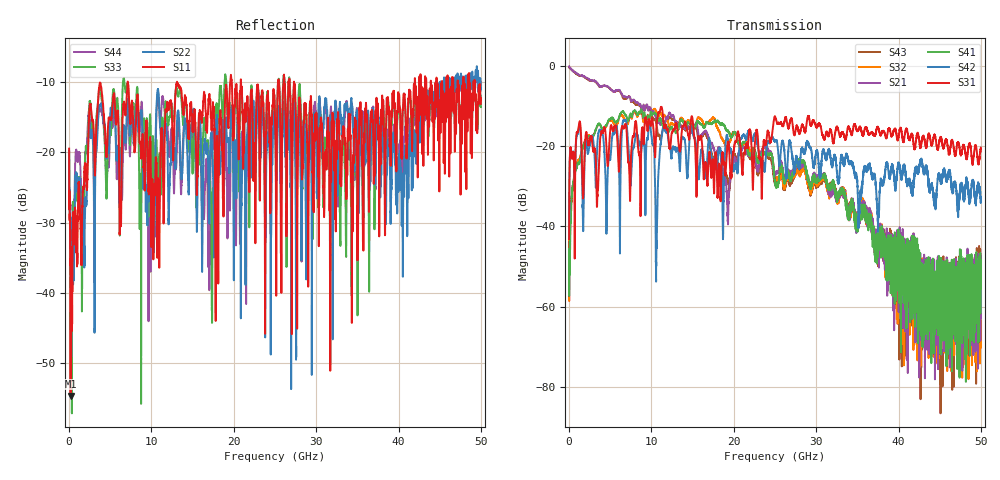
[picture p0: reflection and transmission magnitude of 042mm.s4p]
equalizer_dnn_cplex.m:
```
clear;
addpath('complexbp_v2.0')

symbolRate = 25*1e9;   % symbol rate in Bd
M = 4;            % modulation order
maxErrs = 200;    % target number of errors at each test
maxSymb = 1e7;    % maximum number of symbols at each test
nSymb = 2048;     % number of symbols per vector

% DNN parameters parameters
inputSize = 15;
refTap = 8;
numHiddenUnits = 100;
numClasses = M;
maxEpochs = 1000;
miniBatchSize = 200;

% Channel
ChannelFilename = '042mm.s4p'; %Specify channel S-parameter
imPFilename = ['impulseResponse_',ChannelFilename(1:5),'_',num2str(symbolRate/1e9),'GBd.mat'];
if ~exist(imPFilename,'file')
    ConvertSParameterToImpulseResponse;
else
    load(imPFilename);
end
chnl = chnlImP';  % channel impulse response [0.227 0.460 0.688 0.460 0.227]'
fprintf(['Impulse response of ',ChannelFilename(1:5),' Channel at ', num2str(symbolRate/1e9),'GBd is \n [',num2str(chnlImP),'].\n']);

% Equalizer
ntrain = nSymb;
arch = [inputSize,numHiddenUnits,numHiddenUnits,numClasses];
nlayer = length(arch);
eta = 1;
lambda = 5;

output_active = @sqrmax;
hidden_active = @satabsorb; %@satabsorb
cost_fun = 'quadratic';

% Initialize channel and error collection parameters
chanState = [];

%神经网络参数初始化
weight = cell(1,nlayer);
bias = cell(1,nlayer);
nabla_weight = cell(1,nlayer);
nabla_bias = cell(1,nlayer);
a = cell(1,nlayer);
z = cell(1,nlayer);

for in = 1:nlayer-1
    weight{in} = complex_weight(arch(in+1),arch(in));
    bias{in} = (rand(arch(in),1)-0.5)*2i*pi;
end
%weight{1} = complex_weight(arch(2),arch(1),'slab');
for in = 1:nlayer
    a{in} = zeros(arch(in),miniBatchSize);
    z{in} = zeros(arch(in),miniBatchSize);
end
accuracy = zeros(1,maxEpochs);
x_train = zeros(inputSize,miniBatchSize);
y_train = zeros(numClasses,miniBatchSize);
x_valid = zeros(inputSize,nSymb-inputSize+1);
y_valid = zeros(numClasses,nSymb-inputSize+1);

for ip = 1:maxEpochs
    % Generate random data and apply PAM4 modulation
    msg = randi([0 M-1],nSymb,1);
    txSig = real(pammod(msg,M));
    % Pass the signal through the channel
    [filtSig,chanState] = filter(chnl,1,txSig,chanState);
    noisySig = filtSig';
    label = msg';
    
    for pos = 0:floor(nSymb/miniBatchSize)-1
        for tap = 1:inputSize
            x_train(tap,:) = noisySig(pos*miniBatchSize+tap:pos*miniBatchSize+tap+miniBatchSize-1);
        end
        for class = 1:numClasses
            y_train(class,:) = (label(pos*miniBatchSize+refTap:pos*miniBatchSize+refTap+miniBatchSize-1) == class-1);
        end

        a{1} = x_train;
        [a,ys]=bp_feedforward(hidden_active,output_active,weight,bias,nlayer,a);
        [weight,bias] = bp_backpropagation(hidden_active,output_active,cost_fun,weight,bias,...
            nlayer,miniBatchSize,eta,a,ys,y_train,lambda,ntrain);
    end
    % Generate random data and apply PAM4 modulation
    msg = randi([0 M-1],nSymb,1);
    txSig = real(pammod(msg,M));
    % Pass the signal through the channel
    [filtSig,chanState] = filter(chnl,1,txSig,chanState);
    noisySig = filtSig';
    label = msg';
    
    for tap = 1:inputSize
        x_valid(tap,:) = noisySig(tap:end-inputSize+tap);
    end
    y_valid = label(refTap:end-inputSize+refTap);
    
    [accuracy(ip),yp] = evaluatemnist(hidden_active,output_active,x_valid,y_valid,weight,bias,nlayer);
    plot(accuracy);
    title(['Accuracy:',num2str(accuracy(ip))]);
    getframe;
end
%yp = [y_valid;yp];
rmpath('complexbp_v2.0')
```
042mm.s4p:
!Agilent Technologies,N5245A,MY51251349,A.09.33.09
!Agilent N5245A: A.09.33.09
!Date: Wednesday, September 30, 2020 11:25:14
!Correction: S11(Full 4 Port(1,2,3,4))
!S12(Full 4 Port(1,2,3,4))
!S13(Full 4 Port(1,2,3,4))
!S14(Full 4 Port(1,2,3,4))
!S21(Full 4 Port(1,2,3,4))
!S22(Full 4 Port(1,2,3,4))
!S23(Full 4 Port(1,2,3,4))
!S24(Full 4 Port(1,2,3,4))
!S31(Full 4 Port(1,2,3,4))
!S32(Full 4 Port(1,2,3,4))
!S33(Full 4 Port(1,2,3,4))
!S34(Full 4 Port(1,2,3,4))
!S41(Full 4 Port(1,2,3,4))
!S42(Full 4 Port(1,2,3,4))
!S43(Full 4 Port(1,2,3,4))
!S44(Full 4 Port(1,2,3,4))
!S4P File: Measurements: <S11,S12,S13,S14>,
!<S21,S22,S23,S24>,
!<S31,S32,S33,S34>,
!<S41,S42,S43,S44>:
# Hz S  dB  R 50
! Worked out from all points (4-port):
!   6401 points, 10 MHz to 50 GHz, reference 50 ohm
!   strongest paths, dB at 10 MHz, 12.51 GHz, 25 GHz, 37.5 GHz, 50 GHz:
!     S31: -43.1, -16.7, -12.7, -15.3, -20.4
!     S42: -42.8, -21.6, -18.8, -40.1, -33.0
!     S41: -45.8, -15.5, -29.4, -45.8, -55.3
!     S21: -0.1, -12.5, -27.0, -43.5, -54.8
!     S32: -40.2, -14.3, -27.9, -41.5, -50.3
!     S43: -0.3, -13.3, -28.9, -44.3, -55.4
!   lowest |S11| = -54.7 dB at 189.7 MHz (marker M1), VSWR 1.00, Z = 50.2 + j0.0447 ohm
!   |S11| at or under -10 dB: start of sweep to 7.117 GHz; 13.12 GHz to 19.57 GHz (6.445 GHz wide, 39.4 % of centre); 27.31 GHz to 41.97 GHz (14.65 GHz wide, 42.3 % of centre)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
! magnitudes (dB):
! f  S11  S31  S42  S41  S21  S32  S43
! 10 MHz  -19.5  -43.1  -42.8  -45.8  -0.1  -40.2  -0.3
! 189.7 MHz  -54.7  -20.5  -20.6  -37.5  -0.6  -38.6  -0.7
! 50 GHz  -12.3  -20.4  -33.0  -55.3  -54.8  -50.3  -55.4
